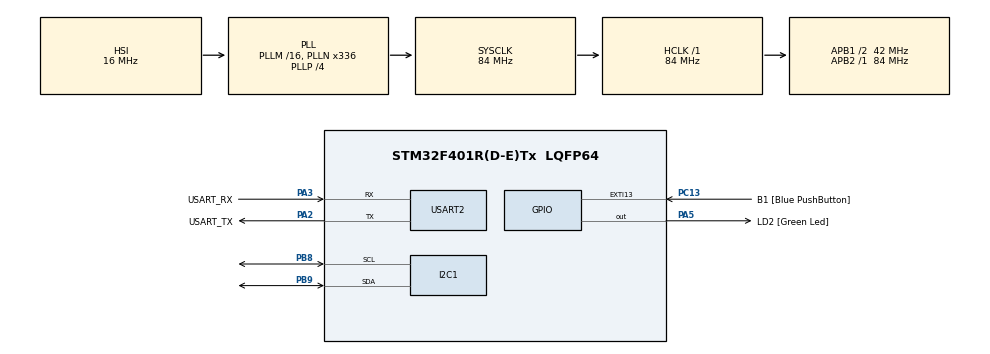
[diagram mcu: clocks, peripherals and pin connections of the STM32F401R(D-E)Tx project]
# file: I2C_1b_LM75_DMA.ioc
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Dma.I2C1_RX.1.Direction=DMA_PERIPH_TO_MEMORY
Dma.I2C1_RX.1.FIFOMode=DMA_FIFOMODE_DISABLE
Dma.I2C1_RX.1.Instance=DMA1_Stream0
Dma.I2C1_RX.1.MemDataAlignment=DMA_MDATAALIGN_BYTE
Dma.I2C1_RX.1.MemInc=DMA_MINC_ENABLE
Dma.I2C1_RX.1.Mode=DMA_NORMAL
Dma.I2C1_RX.1.PeriphDataAlignment=DMA_PDATAALIGN_BYTE
Dma.I2C1_RX.1.PeriphInc=DMA_PINC_DISABLE
Dma.I2C1_RX.1.Priority=DMA_PRIORITY_HIGH
Dma.Request0=USART2_TX
Dma.Request1=I2C1_RX
Dma.USART2_TX.0.Direction=DMA_MEMORY_TO_PERIPH
Dma.USART2_TX.0.FIFOMode=DMA_FIFOMODE_DISABLE
Dma.USART2_TX.0.Instance=DMA1_Stream6
Dma.USART2_TX.0.MemDataAlignment=DMA_MDATAALIGN_BYTE
Dma.USART2_TX.0.MemInc=DMA_MINC_ENABLE
Dma.USART2_TX.0.Mode=DMA_NORMAL
Dma.USART2_TX.0.PeriphDataAlignment=DMA_PDATAALIGN_BYTE
Dma.USART2_TX.0.PeriphInc=DMA_PINC_DISABLE
Dma.USART2_TX.0.Priority=DMA_PRIORITY_HIGH
I2C1.I2C_Mode=I2C_Standard
Mcu.Family=STM32F4
Mcu.Name=STM32F401R(D-E)Tx
Mcu.Package=LQFP64
NVIC.DMA1_Stream0_IRQn=true\:0\:0\:false\:false\:true\:false\:true\:true
NVIC.DMA1_Stream6_IRQn=true\:0\:0\:false\:false\:true\:false\:true\:true
NVIC.I2C1_EV_IRQn=true\:0\:0\:false\:false\:true\:true\:true\:true
NVIC.PriorityGroup=NVIC_PRIORITYGROUP_0
NVIC.TIM2_IRQn=true\:0\:0\:false\:false\:true\:true\:true\:true
NVIC.USART2_IRQn=true\:0\:0\:false\:false\:true\:true\:true\:true
PA13.GPIO_Label=TMS
PA13.Mode=Serial_Wire
PA13.Signal=SYS_JTMS-SWDIO
PA14.GPIO_Label=TCK
PA14.Mode=Serial_Wire
PA14.Signal=SYS_JTCK-SWCLK
PA2.GPIO_Label=USART_TX
PA2.GPIO_Mode=GPIO_MODE_AF_PP
PA2.GPIO_PuPd=GPIO_NOPULL
PA2.GPIO_Speed=GPIO_SPEED_FREQ_LOW
PA2.Mode=Asynchronous
PA2.Signal=USART2_TX
PA3.GPIO_Label=USART_RX
PA3.GPIO_Mode=GPIO_MODE_AF_PP
PA3.GPIO_PuPd=GPIO_NOPULL
PA3.GPIO_Speed=GPIO_SPEED_FREQ_LOW
PA3.Mode=Asynchronous
PA3.Signal=USART2_RX
PA5.GPIO_Label=LD2 [Green Led]
PA5.GPIO_Mode=GPIO_MODE_OUTPUT_PP
PA5.GPIO_PuPd=GPIO_NOPULL
PA5.GPIO_Speed=GPIO_SPEED_FREQ_LOW
PA5.Signal=GPIO_Output
PB3.GPIO_Label=SWO
PB3.Signal=SYS_JTDO-SWO
PB8.Mode=I2C
PB8.Signal=I2C1_SCL
PB9.Mode=I2C
PB9.Signal=I2C1_SDA
PC13-ANTI_TAMP.GPIO_Label=B1 [Blue PushButton]
PC13-ANTI_TAMP.GPIO_ModeDefaultEXTI=GPIO_MODE_IT_FALLING
PC13-ANTI_TAMP.GPIO_PuPd=GPIO_NOPULL
PC13-ANTI_TAMP.Signal=GPXTI13
PC14-OSC32_IN.Mode=LSE-External-Oscillator
PC14-OSC32_IN.Signal=RCC_OSC32_IN
PC15-OSC32_OUT.Mode=LSE-External-Oscillator
PC15-OSC32_OUT.Signal=RCC_OSC32_OUT
PH0\ -\ OSC_IN.Mode=HSE-External-Clock-Source
PH0\ -\ OSC_IN.Signal=RCC_OSC_IN
PH1\ -\ OSC_OUT.Mode=HSE-External-Clock-Source
PH1\ -\ OSC_OUT.Signal=RCC_OSC_OUT
ProjectManager.HeapSize=0x200
ProjectManager.StackSize=0x400
ProjectManager.TargetToolchain=STM32CubeIDE
RCC.48MHZClocksFreq_Value=48000000
RCC.AHBFreq_Value=84000000
RCC.APB1CLKDivider=RCC_HCLK_DIV2
RCC.APB1Freq_Value=42000000
RCC.APB1TimFreq_Value=84000000
RCC.APB2Freq_Value=84000000
RCC.APB2TimFreq_Value=84000000
RCC.CortexFreq_Value=84000000
RCC.HCLKFreq_Value=84000000
RCC.HSE_VALUE=8000000
RCC.HSI_VALUE=16000000
RCC.PLLN=336
RCC.PLLP=RCC_PLLP_DIV4
RCC.PLLQ=7
RCC.SYSCLKFreq_VALUE=84000000
RCC.SYSCLKSource=RCC_SYSCLKSOURCE_PLLCLK
RCC.VCOOutputFreq_Value=336000000
TIM2.Period=(TEMPO*10) - 1
TIM2.Prescaler=8400 - 1
USART2.VirtualMode=VM_ASYNC
VP_TIM2_VS_ClockSourceINT.Mode=Internal
board=NUCLEO-F401RE

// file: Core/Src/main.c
/* USER CODE BEGIN Header */
/**
  ******************************************************************************
  * @file           : main.c
  * @brief          : Main program body
  ******************************************************************************
  * @attention
  *
  * Copyright (c) 2024 STMicroelectronics.
  * All rights reserved.
  *
  * This software is licensed under terms that can be found in the LICENSE file
  * in the root directory of this software component.
  * If no LICENSE file comes with this software, it is provided AS-IS.
  *
  ******************************************************************************
  */
/* USER CODE END Header */
#include "main.h"

/* USER CODE BEGIN PD */
#define TEMPO 1000
/* USER CODE END PD */

I2C_HandleTypeDef hi2c1;
DMA_HandleTypeDef hdma_i2c1_rx;

TIM_HandleTypeDef htim2;

UART_HandleTypeDef huart2;
DMA_HandleTypeDef hdma_usart2_tx;

/* USER CODE BEGIN PV */
uint8_t LM75_WR_ADDRESS = 0b10010000; //LM75 write address
uint8_t LM75_RD_ADDRESS = 0b10010001; //LM75 read address
uint8_t LM75_TEMP_REGISTER   = 0x00;       //Address where the LM75 temperature value can be found
uint8_t data[2]  = {0}; //I2C returned data
char string[32];		 //it contains the string that will be sent via UART
int  string_length = 0;  //initial string length
int16_t concat_data = 0; //Variable to store the arranged value of the 11 bit temperature
float   out_temperature = 0; //Saving the final computed value of temperature
/* USER CODE END PV */

void SystemClock_Config(void);
static void MX_GPIO_Init(void);
static void MX_DMA_Init(void);
static void MX_USART2_UART_Init(void);
static void MX_I2C1_Init(void);
static void MX_TIM2_Init(void);

/* USER CODE BEGIN 0 */
void HAL_TIM_PeriodElapsedCallback(TIM_HandleTypeDef *htim) {
	if (htim->Instance == TIM2) {
		HAL_StatusTypeDef status_rx = HAL_I2C_Master_Receive_DMA(&hi2c1, LM75_RD_ADDRESS, data, 2); //LM75A
		//HAL_I2C_Master_Receive_DMA(&hi2c1, LM75_RD_ADDRESS, data, 6); //LM75B
		if (status_rx != HAL_OK) {
			string_length = snprintf(string, sizeof(string), "I2C DMA Error\n");
			HAL_UART_Transmit_DMA(&huart2, string, string_length);
		}
	}
}

void HAL_I2C_MasterRxCpltCallback(I2C_HandleTypeDef *hi2c) {
	if (hi2c->Instance == I2C1) {
		// ---------------- LM75A Sensor code ----------------- //
		concat_data = data[0] << 8 | data[1];
		// --------------------------------------------------- //
		// ---------------- LM75B Sensor code ----------------- //
		/*
		if (data[0] == data[2] && data[1] == data[3]) {
			concat_data = (data[0] << 8) | data[1];
		}
		else {
			concat_data = (data[4] << 8) | data[5];
		}
		*/
		// --------------------------------------------------- //
		out_temperature = concat_data/256.0;
		string_length = snprintf(string, sizeof(string), "Temperature: %.3f %cC \n", out_temperature, 176);
		HAL_UART_Transmit_DMA(&huart2, string, string_length);
	}
}

/* USER CODE END 0 */

int main(void)
{

  /* MCU Configuration--------------------------------------------------------*/

  /* Reset of all peripherals, Initializes the Flash interface and the Systick. */
  HAL_Init();

  /* Configure the system clock */
  SystemClock_Config();

  /* Initialize all configured peripherals */
  MX_GPIO_Init();
  MX_DMA_Init();
  MX_USART2_UART_Init();
  MX_I2C1_Init();
  MX_TIM2_Init();
  /* USER CODE BEGIN 2 */
  //HAL_StatusTypeDef status_tx =
  HAL_I2C_Master_Transmit(&hi2c1, LM75_WR_ADDRESS, &LM75_TEMP_REGISTER, 2, 10);
  HAL_TIM_Base_Start_IT(&htim2);
  /* USER CODE END 2 */

  /* Infinite loop */
  while (1)
  {

  }
}

void SystemClock_Config(void)
{
  RCC_OscInitTypeDef RCC_OscInitStruct = {0};
  RCC_ClkInitTypeDef RCC_ClkInitStruct = {0};

  /** Configure the main internal regulator output voltage
  */
  __HAL_RCC_PWR_CLK_ENABLE();
  __HAL_PWR_VOLTAGESCALING_CONFIG(PWR_REGULATOR_VOLTAGE_SCALE2);

  /** Initializes the RCC Oscillators according to the specified parameters
  * in the RCC_OscInitTypeDef structure.
  */
  RCC_OscInitStruct.OscillatorType = RCC_OSCILLATORTYPE_HSI;
  RCC_OscInitStruct.HSIState = RCC_HSI_ON;
  RCC_OscInitStruct.HSICalibrationValue = RCC_HSICALIBRATION_DEFAULT;
  RCC_OscInitStruct.PLL.PLLState = RCC_PLL_ON;
  RCC_OscInitStruct.PLL.PLLSource = RCC_PLLSOURCE_HSI;
  RCC_OscInitStruct.PLL.PLLM = 16;
  RCC_OscInitStruct.PLL.PLLN = 336;
  RCC_OscInitStruct.PLL.PLLP = RCC_PLLP_DIV4;
  RCC_OscInitStruct.PLL.PLLQ = 7;
  if (HAL_RCC_OscConfig(&RCC_OscInitStruct) != HAL_OK)
  {
    Error_Handler();
  }

  /** Initializes the CPU, AHB and APB buses clocks
  */
  RCC_ClkInitStruct.ClockType = RCC_CLOCKTYPE_HCLK|RCC_CLOCKTYPE_SYSCLK
                              |RCC_CLOCKTYPE_PCLK1|RCC_CLOCKTYPE_PCLK2;
  RCC_ClkInitStruct.SYSCLKSource = RCC_SYSCLKSOURCE_PLLCLK;
  RCC_ClkInitStruct.AHBCLKDivider = RCC_SYSCLK_DIV1;
  RCC_ClkInitStruct.APB1CLKDivider = RCC_HCLK_DIV2;
  RCC_ClkInitStruct.APB2CLKDivider = RCC_HCLK_DIV1;

  if (HAL_RCC_ClockConfig(&RCC_ClkInitStruct, FLASH_LATENCY_2) != HAL_OK)
  {
    Error_Handler();
  }
}

static void MX_I2C1_Init(void)
{

  hi2c1.Instance = I2C1;
  hi2c1.Init.ClockSpeed = 100000;
  hi2c1.Init.DutyCycle = I2C_DUTYCYCLE_2;
  hi2c1.Init.OwnAddress1 = 0;
  hi2c1.Init.AddressingMode = I2C_ADDRESSINGMODE_7BIT;
  hi2c1.Init.DualAddressMode = I2C_DUALADDRESS_DISABLE;
  hi2c1.Init.OwnAddress2 = 0;
  hi2c1.Init.GeneralCallMode = I2C_GENERALCALL_DISABLE;
  hi2c1.Init.NoStretchMode = I2C_NOSTRETCH_DISABLE;
  if (HAL_I2C_Init(&hi2c1) != HAL_OK)
  {
    Error_Handler();
  }

}

static void MX_TIM2_Init(void)
{

  TIM_ClockConfigTypeDef sClockSourceConfig = {0};
  TIM_MasterConfigTypeDef sMasterConfig = {0};

  htim2.Instance = TIM2;
  htim2.Init.Prescaler = 8400 - 1;
  htim2.Init.CounterMode = TIM_COUNTERMODE_UP;
  htim2.Init.Period = (TEMPO*10) - 1;
  htim2.Init.ClockDivision = TIM_CLOCKDIVISION_DIV1;
  htim2.Init.AutoReloadPreload = TIM_AUTORELOAD_PRELOAD_DISABLE;
  if (HAL_TIM_Base_Init(&htim2) != HAL_OK)
  {
    Error_Handler();
  }
  sClockSourceConfig.ClockSource = TIM_CLOCKSOURCE_INTERNAL;
  if (HAL_TIM_ConfigClockSource(&htim2, &sClockSourceConfig) != HAL_OK)
  {
    Error_Handler();
  }
  sMasterConfig.MasterOutputTrigger = TIM_TRGO_RESET;
  sMasterConfig.MasterSlaveMode = TIM_MASTERSLAVEMODE_DISABLE;
  if (HAL_TIMEx_MasterConfigSynchronization(&htim2, &sMasterConfig) != HAL_OK)
  {
    Error_Handler();
  }

}

static void MX_USART2_UART_Init(void)
{

  huart2.Instance = USART2;
  huart2.Init.BaudRate = 115200;
  huart2.Init.WordLength = UART_WORDLENGTH_8B;
  huart2.Init.StopBits = UART_STOPBITS_1;
  huart2.Init.Parity = UART_PARITY_NONE;
  huart2.Init.Mode = UART_MODE_TX_RX;
  huart2.Init.HwFlowCtl = UART_HWCONTROL_NONE;
  huart2.Init.OverSampling = UART_OVERSAMPLING_16;
  if (HAL_UART_Init(&huart2) != HAL_OK)
  {
    Error_Handler();
  }

}

static void MX_DMA_Init(void)
{

  /* DMA controller clock enable */
  __HAL_RCC_DMA1_CLK_ENABLE();

  /* DMA interrupt init */
  /* DMA1_Stream0_IRQn interrupt configuration */
  HAL_NVIC_SetPriority(DMA1_Stream0_IRQn, 0, 0);
  HAL_NVIC_EnableIRQ(DMA1_Stream0_IRQn);
  /* DMA1_Stream6_IRQn interrupt configuration */
  HAL_NVIC_SetPriority(DMA1_Stream6_IRQn, 0, 0);
  HAL_NVIC_EnableIRQ(DMA1_Stream6_IRQn);

}

static void MX_GPIO_Init(void)
{
  GPIO_InitTypeDef GPIO_InitStruct = {0};

  /* GPIO Ports Clock Enable */
  __HAL_RCC_GPIOC_CLK_ENABLE();
  __HAL_RCC_GPIOH_CLK_ENABLE();
  __HAL_RCC_GPIOA_CLK_ENABLE();
  __HAL_RCC_GPIOB_CLK_ENABLE();

  /*Configure GPIO pin Output Level */
  HAL_GPIO_WritePin(LD2_GPIO_Port, LD2_Pin, GPIO_PIN_RESET);

  /*Configure GPIO pin : B1_Pin */
  GPIO_InitStruct.Pin = B1_Pin;
  GPIO_InitStruct.Mode = GPIO_MODE_IT_FALLING;
  GPIO_InitStruct.Pull = GPIO_NOPULL;
  HAL_GPIO_Init(B1_GPIO_Port, &GPIO_InitStruct);

  /*Configure GPIO pin : LD2_Pin */
  GPIO_InitStruct.Pin = LD2_Pin;
  GPIO_InitStruct.Mode = GPIO_MODE_OUTPUT_PP;
  GPIO_InitStruct.Pull = GPIO_NOPULL;
  GPIO_InitStruct.Speed = GPIO_SPEED_FREQ_LOW;
  HAL_GPIO_Init(LD2_GPIO_Port, &GPIO_InitStruct);

}

void Error_Handler(void)
{
  __disable_irq();
  while (1)
  {
  }
}
